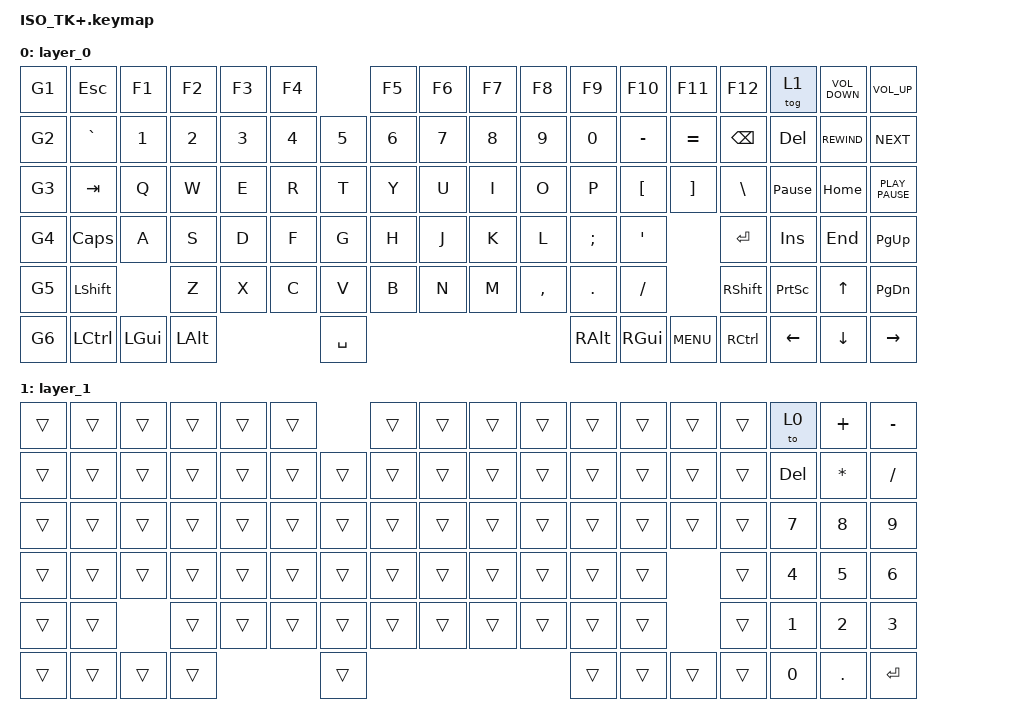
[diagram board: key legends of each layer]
#include <behaviors.dtsi>
#include <dt-bindings/zmk/keys.h>

/ {
    macros {
        G1: G1 {
            compatible = "zmk,behavior-macro";
            #binding-cells = <0>;
            bindings = <>;
            label = "G1";
        };

        G2: G2 {
            compatible = "zmk,behavior-macro";
            #binding-cells = <0>;
            bindings = <>;
            label = "G2";
        };

        G3: G3 {
            compatible = "zmk,behavior-macro";
            #binding-cells = <0>;
            bindings = <>;
            label = "G3";
        };

        G4: G4 {
            compatible = "zmk,behavior-macro";
            #binding-cells = <0>;
            bindings = <>;
            label = "G4";
        };

        G5: G5 {
            compatible = "zmk,behavior-macro";
            #binding-cells = <0>;
            bindings = <>;
            label = "G5";
        };

        G6: G6 {
            compatible = "zmk,behavior-macro";
            #binding-cells = <0>;
            bindings = <>;
            label = "G6";
        };
    };

    keymap {
        compatible = "zmk,keymap";

        layer_0 {
            bindings = <
&G1  &kp ESC    &kp F1    &kp F2    &kp F3  &kp F4             &kp F5  &kp F6  &kp F7  &kp F8     &kp F9    &kp F10    &kp F11     &kp F12    &tog 1           &kp C_VOLUME_DOWN  &kp C_VOLUME_UP
&G2  &kp GRAVE  &kp N1    &kp N2    &kp N3  &kp N4  &kp N5     &kp N6  &kp N7  &kp N8  &kp N9     &kp N0    &kp MINUS  &kp EQUAL   &kp BSPC   &kp DEL          &kp C_REWIND       &kp C_NEXT
&G3  &kp TAB    &kp Q     &kp W     &kp E   &kp R   &kp T      &kp Y   &kp U   &kp I   &kp O      &kp P     &kp LBKT   &kp RBKT    &kp BSLH   &kp PAUSE_BREAK  &kp HOME           &kp K_PLAY_PAUSE
&G4  &kp CAPS   &kp A     &kp S     &kp D   &kp F   &kp G      &kp H   &kp J   &kp K   &kp L      &kp SEMI  &kp SQT                &kp RET    &kp INSERT       &kp END            &kp PAGE_UP
&G5  &kp LSHFT            &kp Z     &kp X   &kp C   &kp V      &kp B   &kp N   &kp M   &kp COMMA  &kp DOT   &kp FSLH               &kp RSHFT  &kp PRINTSCREEN  &kp UP             &kp PAGE_DOWN
&G6  &kp LCTRL  &kp LGUI  &kp LALT                  &kp SPACE                                     &kp RALT  &kp RGUI   &kp C_MENU  &kp RCTRL  &kp LEFT         &kp DOWN           &kp RIGHT
            >;
        };

        layer_1 {
            bindings = <
&trans  &trans  &trans  &trans  &trans  &trans          &trans  &trans  &trans  &trans  &trans  &trans  &trans  &trans  &to 0    &kp PLUS  &kp MINUS
&trans  &trans  &trans  &trans  &trans  &trans  &trans  &trans  &trans  &trans  &trans  &trans  &trans  &trans  &trans  &kp DEL  &kp STAR  &kp FSLH
&trans  &trans  &trans  &trans  &trans  &trans  &trans  &trans  &trans  &trans  &trans  &trans  &trans  &trans  &trans  &kp N7   &kp N8    &kp N9
&trans  &trans  &trans  &trans  &trans  &trans  &trans  &trans  &trans  &trans  &trans  &trans  &trans          &trans  &kp N4   &kp N5    &kp N6
&trans  &trans          &trans  &trans  &trans  &trans  &trans  &trans  &trans  &trans  &trans  &trans          &trans  &kp N1   &kp N2    &kp N3
&trans  &trans  &trans  &trans                  &trans                                  &trans  &trans  &trans  &trans  &kp N0   &kp DOT   &kp RET
            >;
        };
    };
};
